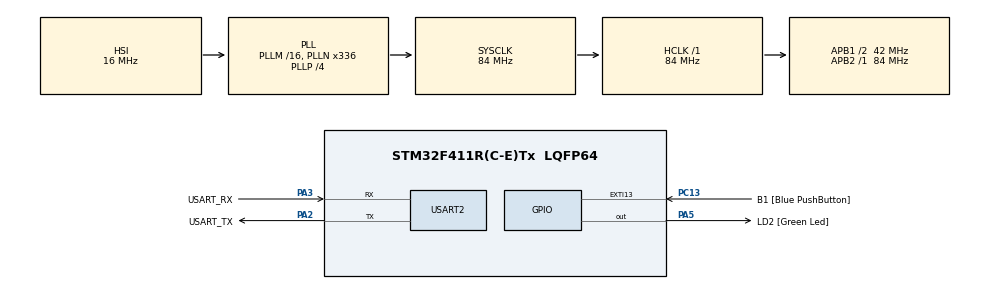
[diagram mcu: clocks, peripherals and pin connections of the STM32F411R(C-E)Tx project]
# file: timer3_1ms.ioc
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Mcu.Family=STM32F4
Mcu.Name=STM32F411R(C-E)Tx
Mcu.Package=LQFP64
NVIC.PriorityGroup=NVIC_PRIORITYGROUP_0
NVIC.TIM3_IRQn=true\:0\:0\:false\:false\:true\:true\:true\:true
PA13.GPIO_Label=TMS
PA13.Mode=Serial_Wire
PA13.Signal=SYS_JTMS-SWDIO
PA14.GPIO_Label=TCK
PA14.Mode=Serial_Wire
PA14.Signal=SYS_JTCK-SWCLK
PA2.GPIO_Label=USART_TX
PA2.Mode=Asynchronous
PA2.Signal=USART2_TX
PA3.GPIO_Label=USART_RX
PA3.Mode=Asynchronous
PA3.Signal=USART2_RX
PA5.GPIO_Label=LD2 [Green Led]
PA5.Signal=GPIO_Output
PB3.GPIO_Label=SWO
PB3.Signal=SYS_JTDO-SWO
PC13-ANTI_TAMP.GPIO_Label=B1 [Blue PushButton]
PC13-ANTI_TAMP.GPIO_ModeDefaultEXTI=GPIO_MODE_IT_FALLING
PC13-ANTI_TAMP.Signal=GPXTI13
PC14-OSC32_IN.Signal=RCC_OSC32_IN
PC15-OSC32_OUT.Signal=RCC_OSC32_OUT
PH0\ -\ OSC_IN.Signal=RCC_OSC_IN
PH1\ -\ OSC_OUT.Signal=RCC_OSC_OUT
ProjectManager.HeapSize=0x200
ProjectManager.StackSize=0x400
ProjectManager.TargetToolchain=STM32CubeIDE
RCC.48MHZClocksFreq_Value=84000000
RCC.AHBFreq_Value=84000000
RCC.APB1CLKDivider=RCC_HCLK_DIV2
RCC.APB1Freq_Value=42000000
RCC.APB1TimFreq_Value=84000000
RCC.APB2Freq_Value=84000000
RCC.APB2TimFreq_Value=84000000
RCC.CortexFreq_Value=84000000
RCC.FLatency-AdvancedSettings=FLASH_LATENCY_2
RCC.HCLKFreq_Value=84000000
RCC.HSE_VALUE=8000000
RCC.HSI_VALUE=16000000
RCC.LSE_VALUE=32768
RCC.PLLN=336
RCC.PLLP=RCC_PLLP_DIV4
RCC.SYSCLKFreq_VALUE=84000000
RCC.SYSCLKSource=RCC_SYSCLKSOURCE_PLLCLK
RCC.VCOOutputFreq_Value=336000000
TIM3.AutoReloadPreload=TIM_AUTORELOAD_PRELOAD_ENABLE
TIM3.Period=1000-1
TIM3.Prescaler=84-1
USART2.VirtualMode=VM_ASYNC
VP_TIM3_VS_ClockSourceINT.Mode=Internal
board=NUCLEO-F411RE

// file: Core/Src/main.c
/* USER CODE BEGIN Header */
/**
  ******************************************************************************
  * @file           : main.c
  * @brief          : Main program body
  ******************************************************************************
  * @attention
  *
  * Copyright (c) 2025 STMicroelectronics.
  * All rights reserved.
  *
  * This software is licensed under terms that can be found in the LICENSE file
  * in the root directory of this software component.
  * If no LICENSE file comes with this software, it is provided AS-IS.
  *
  ******************************************************************************
  */
/* USER CODE END Header */
#include "main.h"

/* USER CODE BEGIN PD */
#ifdef __GNUC__
/* With GCC, small printf (option LD Linker->Libraries->Small printf
   set to 'Yes') calls __io_putchar() */
#define PUTCHAR_PROTOTYPE int __io_putchar(int ch)
#else
#define PUTCHAR_PROTOTYPE int fputc(int ch, FILE *f)
#endif /* __GNUC__ */
/* USER CODE END PD */

TIM_HandleTypeDef htim3;

UART_HandleTypeDef huart2;

/* USER CODE BEGIN PV */
volatile unsigned int time3SecCnt = 0;
volatile int time3SecFlag = 0;
volatile unsigned int time3Cnt = 0;
/* USER CODE END PV */

void SystemClock_Config(void);
static void MX_GPIO_Init(void);
static void MX_USART2_UART_Init(void);
static void MX_TIM3_Init(void);

int main(void)
{

  /* MCU Configuration--------------------------------------------------------*/

  /* Reset of all peripherals, Initializes the Flash interface and the Systick. */
  HAL_Init();

  /* Configure the system clock */
  SystemClock_Config();

  /* Initialize all configured peripherals */
  MX_GPIO_Init();
  MX_USART2_UART_Init();
  MX_TIM3_Init();
  /* USER CODE BEGIN 2 */
  printf("start main()!\r\n");
  if(HAL_TIM_Base_Start_IT(&htim3) != HAL_OK)
	  Error_Handler();

  /* USER CODE END 2 */

  /* Infinite loop */
  /* USER CODE BEGIN WHILE */
  while (1)
  {
	  if(time3SecFlag)
	  {
		  time3SecFlag = 0;
		  HAL_GPIO_TogglePin(LD2_GPIO_Port, LD2_Pin);
		  printf("time : %d\r\n", time3SecCnt);
		  if(!(time3SecCnt % 5))
		  {
			  printf("5초\r\n");
		  }
	  }
	  if(!(time3Cnt % 100))
	  {
		  printf("time3Cnt : %d\r\n", time3Cnt);
	  }
    /* USER CODE END WHILE */

  }
}

void SystemClock_Config(void)
{
  RCC_OscInitTypeDef RCC_OscInitStruct = {0};
  RCC_ClkInitTypeDef RCC_ClkInitStruct = {0};

  /** Configure the main internal regulator output voltage
  */
  __HAL_RCC_PWR_CLK_ENABLE();
  __HAL_PWR_VOLTAGESCALING_CONFIG(PWR_REGULATOR_VOLTAGE_SCALE1);

  /** Initializes the RCC Oscillators according to the specified parameters
  * in the RCC_OscInitTypeDef structure.
  */
  RCC_OscInitStruct.OscillatorType = RCC_OSCILLATORTYPE_HSI;
  RCC_OscInitStruct.HSIState = RCC_HSI_ON;
  RCC_OscInitStruct.HSICalibrationValue = RCC_HSICALIBRATION_DEFAULT;
  RCC_OscInitStruct.PLL.PLLState = RCC_PLL_ON;
  RCC_OscInitStruct.PLL.PLLSource = RCC_PLLSOURCE_HSI;
  RCC_OscInitStruct.PLL.PLLM = 16;
  RCC_OscInitStruct.PLL.PLLN = 336;
  RCC_OscInitStruct.PLL.PLLP = RCC_PLLP_DIV4;
  RCC_OscInitStruct.PLL.PLLQ = 4;
  if (HAL_RCC_OscConfig(&RCC_OscInitStruct) != HAL_OK)
  {
    Error_Handler();
  }

  /** Initializes the CPU, AHB and APB buses clocks
  */
  RCC_ClkInitStruct.ClockType = RCC_CLOCKTYPE_HCLK|RCC_CLOCKTYPE_SYSCLK
                              |RCC_CLOCKTYPE_PCLK1|RCC_CLOCKTYPE_PCLK2;
  RCC_ClkInitStruct.SYSCLKSource = RCC_SYSCLKSOURCE_PLLCLK;
  RCC_ClkInitStruct.AHBCLKDivider = RCC_SYSCLK_DIV1;
  RCC_ClkInitStruct.APB1CLKDivider = RCC_HCLK_DIV2;
  RCC_ClkInitStruct.APB2CLKDivider = RCC_HCLK_DIV1;

  if (HAL_RCC_ClockConfig(&RCC_ClkInitStruct, FLASH_LATENCY_2) != HAL_OK)
  {
    Error_Handler();
  }
}

static void MX_TIM3_Init(void)
{

  TIM_ClockConfigTypeDef sClockSourceConfig = {0};
  TIM_MasterConfigTypeDef sMasterConfig = {0};

  htim3.Instance = TIM3;
  htim3.Init.Prescaler = 84-1;
  htim3.Init.CounterMode = TIM_COUNTERMODE_UP;
  htim3.Init.Period = 1000-1;
  htim3.Init.ClockDivision = TIM_CLOCKDIVISION_DIV1;
  htim3.Init.AutoReloadPreload = TIM_AUTORELOAD_PRELOAD_ENABLE;
  if (HAL_TIM_Base_Init(&htim3) != HAL_OK)
  {
    Error_Handler();
  }
  sClockSourceConfig.ClockSource = TIM_CLOCKSOURCE_INTERNAL;
  if (HAL_TIM_ConfigClockSource(&htim3, &sClockSourceConfig) != HAL_OK)
  {
    Error_Handler();
  }
  sMasterConfig.MasterOutputTrigger = TIM_TRGO_RESET;
  sMasterConfig.MasterSlaveMode = TIM_MASTERSLAVEMODE_DISABLE;
  if (HAL_TIMEx_MasterConfigSynchronization(&htim3, &sMasterConfig) != HAL_OK)
  {
    Error_Handler();
  }

}

static void MX_USART2_UART_Init(void)
{

  huart2.Instance = USART2;
  huart2.Init.BaudRate = 115200;
  huart2.Init.WordLength = UART_WORDLENGTH_8B;
  huart2.Init.StopBits = UART_STOPBITS_1;
  huart2.Init.Parity = UART_PARITY_NONE;
  huart2.Init.Mode = UART_MODE_TX_RX;
  huart2.Init.HwFlowCtl = UART_HWCONTROL_NONE;
  huart2.Init.OverSampling = UART_OVERSAMPLING_16;
  if (HAL_UART_Init(&huart2) != HAL_OK)
  {
    Error_Handler();
  }

}

static void MX_GPIO_Init(void)
{
  GPIO_InitTypeDef GPIO_InitStruct = {0};

  /* GPIO Ports Clock Enable */
  __HAL_RCC_GPIOC_CLK_ENABLE();
  __HAL_RCC_GPIOH_CLK_ENABLE();
  __HAL_RCC_GPIOA_CLK_ENABLE();
  __HAL_RCC_GPIOB_CLK_ENABLE();

  /*Configure GPIO pin Output Level */
  HAL_GPIO_WritePin(LD2_GPIO_Port, LD2_Pin, GPIO_PIN_RESET);

  /*Configure GPIO pin : B1_Pin */
  GPIO_InitStruct.Pin = B1_Pin;
  GPIO_InitStruct.Mode = GPIO_MODE_IT_FALLING;
  GPIO_InitStruct.Pull = GPIO_NOPULL;
  HAL_GPIO_Init(B1_GPIO_Port, &GPIO_InitStruct);

  /*Configure GPIO pin : LD2_Pin */
  GPIO_InitStruct.Pin = LD2_Pin;
  GPIO_InitStruct.Mode = GPIO_MODE_OUTPUT_PP;
  GPIO_InitStruct.Pull = GPIO_NOPULL;
  GPIO_InitStruct.Speed = GPIO_SPEED_FREQ_LOW;
  HAL_GPIO_Init(LD2_GPIO_Port, &GPIO_InitStruct);

}

/* USER CODE BEGIN 4 */
void HAL_TIM_PeriodElapsedCallback(TIM_HandleTypeDef * htim)
{
	time3Cnt++;				// 1ms
	if(time3Cnt >= 1000)	 // 1ms * 1000 = 1Sec
	{
		time3SecFlag = 1;
		time3SecCnt++;
		time3Cnt = 0;
	}
}
PUTCHAR_PROTOTYPE
{
  /* Place your implementation of fputc here */
  /* e.g. write a character to the USART6 and Loop until the end of transmission */
  HAL_UART_Transmit(&huart2, (uint8_t *)&ch, 1, 0xFFFF);

  return ch;
}
/* USER CODE END 4 */

void Error_Handler(void)
{
  __disable_irq();
  while (1)
  {
  }
}
